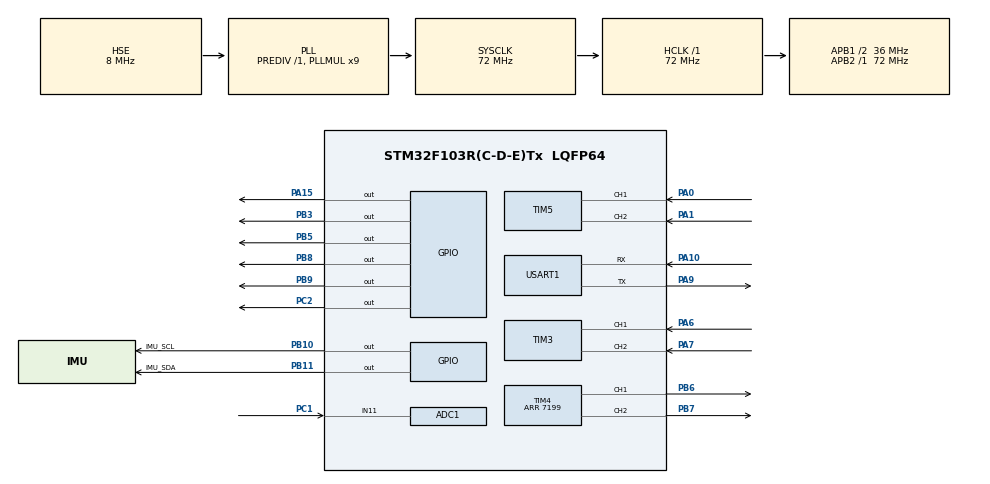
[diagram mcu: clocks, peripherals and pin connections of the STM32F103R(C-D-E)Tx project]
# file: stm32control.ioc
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ADC1.Channel-0\#ChannelRegularConversion=ADC_CHANNEL_11
ADC1.NbrOfConversionFlag=1
ADC1.Rank-0\#ChannelRegularConversion=1
ADC1.SamplingTime-0\#ChannelRegularConversion=ADC_SAMPLETIME_1CYCLE_5
ADC1.master=1
Mcu.Family=STM32F1
Mcu.Name=STM32F103R(C-D-E)Tx
Mcu.Package=LQFP64
NVIC.PriorityGroup=NVIC_PRIORITYGROUP_2
NVIC.TIM2_IRQn=true\:2\:0\:true\:false\:true\:true\:true\:true
NVIC.USART1_IRQn=true\:1\:0\:true\:false\:true\:true\:true\:true
PA0-WKUP.Signal=S_TIM5_CH1
PA1.Signal=S_TIM5_CH2
PA10.Mode=Asynchronous
PA10.Signal=USART1_RX
PA13.Mode=Serial_Wire
PA13.Signal=SYS_JTMS-SWDIO
PA14.Mode=Serial_Wire
PA14.Signal=SYS_JTCK-SWCLK
PA15.Signal=GPIO_Output
PA6.Signal=S_TIM3_CH1
PA7.Signal=S_TIM3_CH2
PA9.Mode=Asynchronous
PA9.Signal=USART1_TX
PB10.GPIO_Label=IMU_SCL
PB10.Signal=GPIO_Output
PB11.GPIO_Label=IMU_SDA
PB11.Signal=GPIO_Output
PB3.Signal=GPIO_Output
PB5.Signal=GPIO_Output
PB6.Signal=S_TIM4_CH1
PB7.Signal=S_TIM4_CH2
PB8.Signal=GPIO_Output
PB9.Signal=GPIO_Output
PC1.Signal=ADCx_IN11
PC2.Signal=GPIO_Output
PD0-OSC_IN.Mode=HSE-External-Oscillator
PD0-OSC_IN.Signal=RCC_OSC_IN
PD1-OSC_OUT.Mode=HSE-External-Oscillator
PD1-OSC_OUT.Signal=RCC_OSC_OUT
ProjectManager.HeapSize=0x200
ProjectManager.StackSize=0x400
ProjectManager.TargetToolchain=CMake
RCC.ADCPresc=RCC_ADCPCLK2_DIV6
RCC.AHBFreq_Value=72000000
RCC.APB1CLKDivider=RCC_HCLK_DIV2
RCC.APB1Freq_Value=36000000
RCC.APB1TimFreq_Value=72000000
RCC.APB2Freq_Value=72000000
RCC.APB2TimFreq_Value=72000000
RCC.HCLKFreq_Value=72000000
RCC.PLLMUL=RCC_PLL_MUL9
RCC.PLLSourceVirtual=RCC_PLLSOURCE_HSE
RCC.PREFETCH_ENABLE=1
RCC.SYSCLKFreq_VALUE=72000000
RCC.SYSCLKSource=RCC_SYSCLKSOURCE_PLLCLK
RCC.USBFreq_Value=72000000
SH.ADCx_IN11.0=ADC1_IN11,IN11
SH.S_TIM3_CH1.0=TIM3_CH1,Encoder_Interface
SH.S_TIM3_CH2.0=TIM3_CH2,Encoder_Interface
SH.S_TIM4_CH1.0=TIM4_CH1,PWM Generation1 CH1
SH.S_TIM4_CH2.0=TIM4_CH2,PWM Generation2 CH2
SH.S_TIM5_CH1.0=TIM5_CH1,Encoder_Interface
SH.S_TIM5_CH2.0=TIM5_CH2,Encoder_Interface
TIM2.Period=99
TIM2.Prescaler=7199
TIM3.EncoderMode=TIM_ENCODERMODE_TI12
TIM3.IC1Filter=10
TIM3.IC2Filter=10
TIM4.Channel-PWM\ Generation1\ CH1=TIM_CHANNEL_1
TIM4.Channel-PWM\ Generation2\ CH2=TIM_CHANNEL_2
TIM4.Period=7199
TIM5.EncoderMode=TIM_ENCODERMODE_TI12
TIM5.IC1Filter=10
USART1.VirtualMode=VM_ASYNC
VP_TIM2_VS_ClockSourceINT.Mode=Internal
board=custom

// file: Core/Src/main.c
/* USER CODE BEGIN Header */
/**
 ******************************************************************************
 * @file           : main.c
 * @brief          : Main program body
 ******************************************************************************
 * @attention
 *
 * Copyright (c) 2025 STMicroelectronics.
 * All rights reserved.
 *
 * This software is licensed under terms that can be found in the LICENSE file
 * in the root directory of this software component.
 * If no LICENSE file comes with this software, it is provided AS-IS.
 *
 ******************************************************************************
 */
/* USER CODE END Header */
#include "main.h"
#include "adc.h"
#include "tim.h"
#include "usart.h"
#include "gpio.h"

/* USER CODE BEGIN Includes */
#include "adc.h"
#include "delay.h"
#include "gpio.h"
#include "icm20948_reg.h"
#include "main.h"
#include "motor.h"
#include "stm32f1xx_hal.h"
#include "sys.h"
#include "tim.h"
#include "usart.h"
#include "usart_x.h"

/* USER CODE END Includes */

/* USER CODE BEGIN PV */
extern u8 Usart1_Receive_buf[1];
volatile int Count = 0;
uint16_t adc_val;
uint32_t voltage;
float Velocity_KP = 500.f, Velocity_KI = 50.f;
float Akm_Along_Distance_KP = 0.002f, Akm_Along_Distance_KD = 1000.245f,
      Akm_Along_Distance_KI = 0.00001f;
float Distance_KP = 0.0015f, Distance_KD = 0.25557f, Distance_KI = 0.00001f;
float Follow_KP_Akm = 0.02f, Follow_KD_Akm = 0.0182f, Follow_KI_Akm = -0.0001f;
float Move_X = 0, Move_Y = 0, Move_Z = 0;
float RC_Velocity = 350.f, RC_Turn_Velocity = 0.f;
uint8_t Flag_Direction = 0, PID_Send = 0, Flag_Left = 0, Flag_Right = 0;
uint8_t Receive_Data[12];
uint8_t Lidar_Success_Receive_flag = 0;
int PointDataProcess_count = 0, test_once_flag = 0, Dividing_point = 0;
uint8_t one_lap_data_success_flag = 0;
int Servo_PWM = SERVO_INIT;

pIMUInterface_t imu = &UserICM20948;
/* USER CODE END PV */

void SystemClock_Config(void);

/* USER CODE BEGIN 0 */
void test_move_state(void) {
  // Many embedded printf implementations (newlib-nano) omit float support
  // by default. Print scaled integer values (x1000) to observe the numbers
  // int mx = (int)(Move_X * 1000.0f);
  // int mz = (int)(Move_Z * 1000.0f);
  int PWMA_int = (int)(PWMA);
  int PWMB_int = (int)(PWMB);
  int motorA_target = (int)(MOTOR_A.Target * 1000.0f);
  int motorA_encoder = (int)(MOTOR_A.Encoder * 1000.0f);
  int motorA_pwm = (int)(MOTOR_A.Motor_Pwm);
  int motorB_target = (int)(MOTOR_B.Target * 1000.0f);
  int motorB_encoder = (int)(MOTOR_B.Encoder * 1000.0f);
  int motorB_pwm = (int)(MOTOR_B.Motor_Pwm);
  // printf("Move_X: %d (x1e-3), Move_Z: %d (x1e-3), Count: %d\r\n", mx, mz,
  //        Count);
  // printf("voltage: %u, TurnOff: %d\r\n", (unsigned)voltage,
  // Turn_Off(voltage));
  printf("MOTOR_A encoder: %d, MOTOR_B encoder: %d\r\n", motorA_encoder,
         motorB_encoder);
  printf("MOTOR_A target: %d (x1e-3), pwm: %d; MOTOR_B target: %d (x1e-3), "
         "pwm: %d\r\n",
         motorA_target, motorA_pwm, motorB_target, motorB_pwm);
  printf("PWMA(REG CCR2): %d, PWMB(REG CCR1): %d\r\n", PWMA_int, PWMB_int);
}

/* USER CODE END 0 */

int main(void)
{

  /* MCU Configuration--------------------------------------------------------*/

  /* Reset of all peripherals, Initializes the Flash interface and the Systick. */
  HAL_Init();

  /* Configure the system clock */
  SystemClock_Config();

  /* USER CODE BEGIN SysInit */
  delay_init(72);
  setvbuf(stdout, NULL, _IONBF, 0);

  /* USER CODE END SysInit */

  /* Initialize all configured peripherals */
  MX_GPIO_Init();
  MX_ADC1_Init();
  MX_TIM2_Init();
  MX_TIM3_Init();
  MX_TIM4_Init();
  MX_TIM5_Init();
  MX_USART1_UART_Init();
  /* USER CODE BEGIN 2 */
  HAL_TIM_Base_Start_IT(&htim2);
  HAL_TIM_PWM_Start(&htim4, TIM_CHANNEL_1); // PWMB (或根据你连线为 PWMA)
  HAL_TIM_PWM_Start(&htim4, TIM_CHANNEL_2); // PWMA (或根据你连线为 PWMB)
  HAL_TIM_Encoder_Start(&htim3, TIM_CHANNEL_ALL);
  HAL_TIM_Encoder_Start(&htim5, TIM_CHANNEL_ALL);
  HAL_UART_Receive_IT(&huart1, Usart1_Receive_buf, sizeof(Usart1_Receive_buf));
  while (imu->Init()) {
    printf("imu initing...\r\n");
  }
  Motor_Init();
  MX_ADC1_Init();                      // 先初始化ADC1
  HAL_ADCEx_Calibration_Start(&hadc1); // 然后再进行校准

  /* USER CODE END 2 */

  /* Infinite loop */
  /* USER CODE BEGIN WHILE */
  while (1) {
    adc_val = Get_Adc(11);
    voltage = adc_val * 33 * 11 * 100 / 4096 / 10;
    test_move_state();
    delay_ms(1000);
    /* USER CODE END WHILE */

  }
}

void SystemClock_Config(void)
{
  RCC_OscInitTypeDef RCC_OscInitStruct = {0};
  RCC_ClkInitTypeDef RCC_ClkInitStruct = {0};
  RCC_PeriphCLKInitTypeDef PeriphClkInit = {0};

  /** Initializes the RCC Oscillators according to the specified parameters
  * in the RCC_OscInitTypeDef structure.
  */
  RCC_OscInitStruct.OscillatorType = RCC_OSCILLATORTYPE_HSE;
  RCC_OscInitStruct.HSEState = RCC_HSE_ON;
  RCC_OscInitStruct.HSEPredivValue = RCC_HSE_PREDIV_DIV1;
  RCC_OscInitStruct.HSIState = RCC_HSI_ON;
  RCC_OscInitStruct.PLL.PLLState = RCC_PLL_ON;
  RCC_OscInitStruct.PLL.PLLSource = RCC_PLLSOURCE_HSE;
  RCC_OscInitStruct.PLL.PLLMUL = RCC_PLL_MUL9;
  if (HAL_RCC_OscConfig(&RCC_OscInitStruct) != HAL_OK)
  {
    Error_Handler();
  }

  /** Initializes the CPU, AHB and APB buses clocks
  */
  RCC_ClkInitStruct.ClockType = RCC_CLOCKTYPE_HCLK|RCC_CLOCKTYPE_SYSCLK
                              |RCC_CLOCKTYPE_PCLK1|RCC_CLOCKTYPE_PCLK2;
  RCC_ClkInitStruct.SYSCLKSource = RCC_SYSCLKSOURCE_PLLCLK;
  RCC_ClkInitStruct.AHBCLKDivider = RCC_SYSCLK_DIV1;
  RCC_ClkInitStruct.APB1CLKDivider = RCC_HCLK_DIV2;
  RCC_ClkInitStruct.APB2CLKDivider = RCC_HCLK_DIV1;

  if (HAL_RCC_ClockConfig(&RCC_ClkInitStruct, FLASH_LATENCY_2) != HAL_OK)
  {
    Error_Handler();
  }
  PeriphClkInit.PeriphClockSelection = RCC_PERIPHCLK_ADC;
  PeriphClkInit.AdcClockSelection = RCC_ADCPCLK2_DIV6;
  if (HAL_RCCEx_PeriphCLKConfig(&PeriphClkInit) != HAL_OK)
  {
    Error_Handler();
  }
}

void Error_Handler(void)
{
  __disable_irq();
  while (1) {
  }
}
#ifdef USE_FULL_ASSERT
/**
  * @brief  Reports the name of the source file and the source line number
  *         where the assert_param error has occurred.
  * @param  file: pointer to the source file name
  * @param  line: assert_param error line source number
  * @retval None
  */
void assert_failed(uint8_t *file, uint32_t line)
{
  /* USER CODE BEGIN 6 */
  /* User can add his own implementation to report the file name and line
     number, ex: printf("Wrong parameters value: file %s on line %d\r\n", file,
     line) */
  /* USER CODE END 6 */
}
#endif /* USE_FULL_ASSERT */
